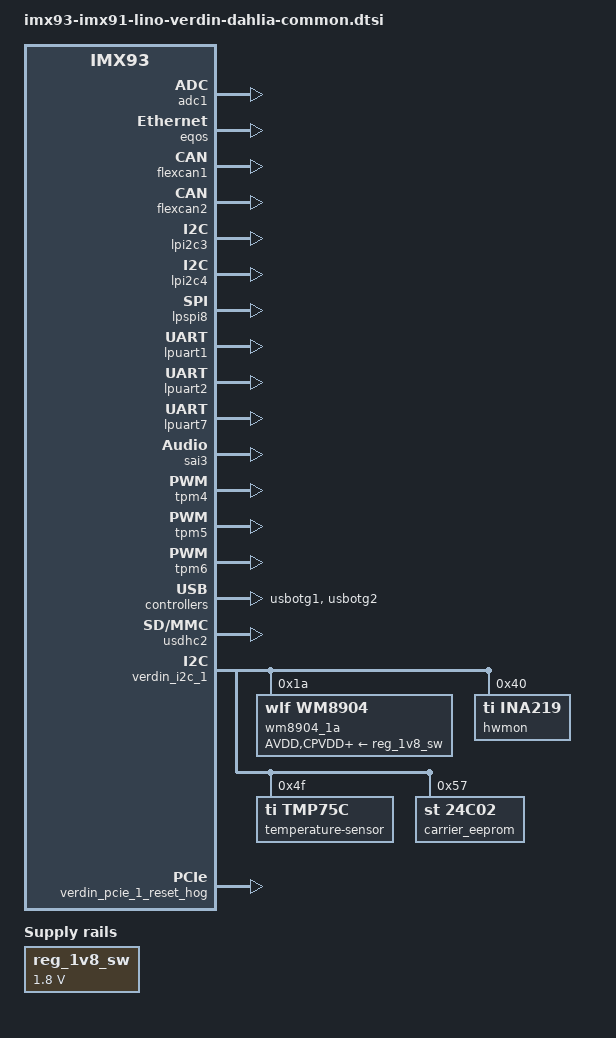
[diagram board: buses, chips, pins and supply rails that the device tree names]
// SPDX-License-Identifier: GPL-2.0-only OR MIT
/*
 * Copyright (c) Toradex
 *
 * Lino iMX93/iMX91 SoM on Lino-Verdin Adapter / Dahlia carrier board
 *
 * https://www.toradex.com/computer-on-modules/lino-arm-family/nxp-imx91
 * https://www.toradex.com/computer-on-modules/lino-arm-family/nxp-imx93
 * https://www.toradex.com/products/carrier-board/dahlia-carrier-board-kit
 */

/ {
	aliases {
		eeprom1 = &carrier_eeprom;
	};

	reg_1v8_sw: regulator-1v8-sw {
		compatible = "regulator-fixed";
		regulator-max-microvolt = <1800000>;
		regulator-min-microvolt = <1800000>;
		regulator-name = "On-carrier +V1.8_SW";
	};

	sound {
		compatible = "simple-audio-card";
		simple-audio-card,bitclock-master = <&codec_dai>;
		simple-audio-card,format = "i2s";
		simple-audio-card,frame-master = <&codec_dai>;
		simple-audio-card,mclk-fs = <256>;
		simple-audio-card,name = "verdin-wm8904";
		simple-audio-card,routing =
			"Headphone Jack", "HPOUTL",
			"Headphone Jack", "HPOUTR",
			"IN2L", "Line In Jack",
			"IN2R", "Line In Jack",
			"Microphone Jack", "MICBIAS",
			"IN1L", "Microphone Jack";
		simple-audio-card,widgets =
			"Microphone", "Microphone Jack",
			"Headphone", "Headphone Jack",
			"Line", "Line In Jack";

		codec_dai: simple-audio-card,codec {
			sound-dai = <&wm8904_1a>;
		};

		simple-audio-card,cpu {
			sound-dai = <&sai3>;
		};
	};
};

/* Lino ADC_1, ADC_2, ADC_3 and ADC_4 */
&adc1 {
	status = "okay";
};

&gpio2 {
	pinctrl-names = "default";
	pinctrl-0 = <&pinctrl_gpio1>, <&pinctrl_gpio2>, <&pinctrl_gpio3>,
		    <&pinctrl_gpio4>, <&pinctrl_gpio5>;
};

&gpio3 {
	pinctrl-names = "default";
	pinctrl-0 = <&pinctrl_gpio6>, <&pinctrl_gpio7>;
};

&gpio4 {
	pinctrl-names = "default";
	pinctrl-0 = <&pinctrl_gpio8>, <&pinctrl_gpio9>, <&pinctrl_gpio10>;
};

/* Lino ETH_1 */
&eqos {
	status = "okay";
};

/* Lino CAN_1 */
&flexcan1 {
	status = "okay";
};

/* Lino CAN_2 */
&flexcan2 {
	status = "okay";
};

/* Lino I2C_2 */
&lpi2c3 {
	status = "okay";
};

/* Lino I2C_3 */
&lpi2c4 {
	status = "okay";
};

/* Lino SPI_1 */
&lpspi8 {
	status = "okay";
};

/* Lino UART_3, used as the Linux Console */
&lpuart1 {
	status = "okay";
};

/* Lino UART_4 */
&lpuart2 {
	status = "okay";
};

/* Lino UART_2 */
&lpuart7 {
	status = "okay";
};

/* Lino I2S_1 */
&sai3 {
	status = "okay";
};

/* Lino PWM_1 */
&tpm4 {
	status = "okay";
};

/* Lino PWM_2 */
&tpm5 {
	status = "okay";
};

/* Lino PWM_3 */
&tpm6 {
	status = "okay";
};

/* Lino USB_1 */
&usbotg1 {
	status = "okay";
};

/* Lino USB_2 */
&usbotg2 {
	status = "okay";
};

/* Lino SD_1 */
&usdhc2 {
	status = "okay";
};

/* Verdin CTRL_WAKE1_MICO# */
&verdin_gpio_keys {
	status = "okay";
};

/* Verdin I2C_1 */
&verdin_i2c_1 {
	status = "okay";

	wm8904_1a: audio-codec@1a {
		compatible = "wlf,wm8904";
		reg = <0x1a>;
		clock-names = "mclk";
		clocks = <&verdin_i2s1_mclk>;
		#sound-dai-cells = <0>;
		AVDD-supply = <&reg_1v8_sw>;
		CPVDD-supply = <&reg_1v8_sw>;
		DBVDD-supply = <&reg_1v8_sw>;
		DCVDD-supply = <&reg_1v8_sw>;
		MICVDD-supply = <&reg_1v8_sw>;
	};

	/* Current measurement into module VCC */
	hwmon@40 {
		compatible = "ti,ina219";
		reg = <0x40>;
		shunt-resistor = <10000>;
	};

	temperature-sensor@4f {
		compatible = "ti,tmp75c";
		reg = <0x4f>;
	};

	carrier_eeprom: eeprom@57 {
		compatible = "st,24c02", "atmel,24c02";
		reg = <0x57>;
		pagesize = <16>;
	};
};

/* Verdin PCIE_1_RESET# */
&verdin_pcie_1_reset_hog {
	status = "okay";
};
